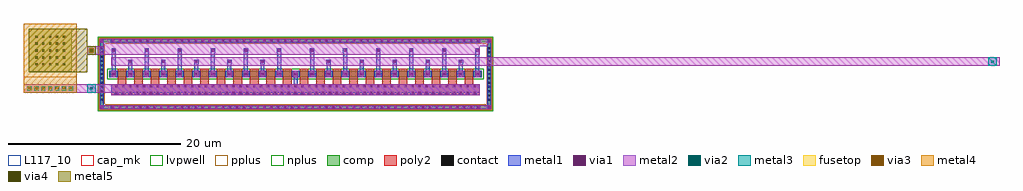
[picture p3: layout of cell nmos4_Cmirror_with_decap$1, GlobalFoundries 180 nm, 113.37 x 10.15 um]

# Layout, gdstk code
import gdstk
lib = gdstk.Library(unit=1e-6, precision=5e-09)
def R(c, l, rs):  # rectangles x0, y0, x1, y1
    for r in rs: c.add(gdstk.rectangle(r[:2], r[2:], *l))
def A(c, l, x, y, w, h, nx, ny, dx, dy):  # array of equal rectangles
    R(c, l, [(x+i*dx, y+j*dy, x+i*dx+w, y+j*dy+h) for i in range(nx) for j in range(ny)])
def P(c, l, *ps):  # polygons
    for p in ps: c.add(gdstk.Polygon(p, *l))
comp = (22, 0)
poly2 = (30, 0)
pplus = (31, 0)
nplus = (32, 0)
contact = (33, 0)
metal1 = (34, 0)
via1 = (35, 0)
metal2 = (36, 0)
via2 = (38, 0)
via3 = (40, 0)
via4 = (41, 0)
metal3 = (42, 0)
metal4 = (46, 0)
fusetop = (75, 0)
metal5 = (81, 0)
cap_mk = (117, 5)
L117_10 = (117, 10)
lvpwell = (204, 0)

cmirror_interdigitized_4 = lib.new_cell('cmirror_interdigitized$4')
A(cmirror_interdigitized_4, comp, -21.38, -4.045, 0.36, 0.36, 54, 2, 0.8, 7.73)
A(cmirror_interdigitized_4, comp, -22.7, -3.18, 0.36, 0.36, 1, 13, 0, 0.5)
A(cmirror_interdigitized_4, comp, 22.34, -3.18, 0.36, 0.36, 1, 13, 0, 0.5)
R(cmirror_interdigitized_4, comp, [(-21.38,-4.045,21.38,-3.685), (-22.7,-3.18,-22.34,3.18), (22.34,-3.18,22.7,3.18), (-21.65,-0.375,21.65,0.375), (-21.38,3.685,21.38,4.045)])
P(cmirror_interdigitized_4, comp, [(-22.7,-4.045),(-22.7,-3.685),(22.34,-3.685),(22.34,3.685),(-22.34,3.685),(-22.34,-3.685),(-22.7,-3.685),(-22.7,4.045),(22.7,4.045),(22.7,-4.045)])
A(cmirror_interdigitized_4, poly2, -20.98, -2.405, 0.36, 0.36, 53, 2, 0.8, 0.8)
A(cmirror_interdigitized_4, poly2, -20.66, -1.18, 1, 0.565, 22, 1, 1.92, 0)
A(cmirror_interdigitized_4, poly2, -20.66, -0.615, 1, 1.23, 22, 1, 1.92, 0)
R(cmirror_interdigitized_4, poly2, [(-21.4,-2.475,21.4,-1.175)])
P(cmirror_interdigitized_4, pplus, [(-22.86,-4.205),(-22.86,-3.525),(22.18,-3.525),(22.18,3.525),(-22.18,3.525),(-22.18,-3.525),(-22.86,-3.525),(-22.86,4.205),(22.86,4.205),(22.86,-4.205)])
R(cmirror_interdigitized_4, nplus, [(-21.88,-0.605,21.88,0.605)])
A(cmirror_interdigitized_4, contact, -21.31, -3.975, 0.22, 0.22, 54, 2, 0.8, 7.73)
A(cmirror_interdigitized_4, contact, -22.63, -3.11, 0.22, 0.22, 1, 13, 0, 0.5)
A(cmirror_interdigitized_4, contact, 22.41, -3.11, 0.22, 0.22, 1, 13, 0, 0.5)
A(cmirror_interdigitized_4, contact, -20.91, -2.335, 0.22, 0.22, 53, 2, 0.8, 0.8)
A(cmirror_interdigitized_4, contact, -21.23, -0.11, 0.22, 0.22, 23, 1, 1.92, 0)
A(cmirror_interdigitized_4, metal1, -21.45, -4.115, 0.5, 0.5, 54, 2, 0.8, 7.73)
A(cmirror_interdigitized_4, metal1, -22.75, -3.23, 0.46, 0.46, 1, 13, 0, 0.5)
A(cmirror_interdigitized_4, metal1, 22.29, -3.23, 0.46, 0.46, 1, 13, 0, 0.5)
A(cmirror_interdigitized_4, metal1, -21.05, -2.475, 0.5, 0.5, 53, 2, 0.8, 0.8)
A(cmirror_interdigitized_4, metal1, -21.58, -0.375, 0.92, 0.75, 23, 1, 1.92, 0)
A(cmirror_interdigitized_4, metal1, -21.35, -0.23, 0.46, 0.46, 23, 1, 1.92, 0)
A(cmirror_interdigitized_4, metal1, -21.35, 0.375, 0.46, 2.6, 12, 1, 3.84, 0)
A(cmirror_interdigitized_4, metal1, -19.43, 0.375, 0.46, 1.3, 5, 1, 3.84, 0)
A(cmirror_interdigitized_4, metal1, 3.61, 0.375, 0.46, 1.3, 5, 1, 3.84, 0)
A(cmirror_interdigitized_4, metal1, -19.45, 1.175, 0.5, 0.5, 5, 1, 3.84, 0)
A(cmirror_interdigitized_4, metal1, 3.59, 1.175, 0.5, 0.5, 5, 1, 3.84, 0)
A(cmirror_interdigitized_4, metal1, -21.37, 2.475, 0.5, 0.5, 12, 1, 3.84, 0)
R(cmirror_interdigitized_4, metal1, [(-22.75,-4.115,-22.25,-3.615), (-22.75,-4.115,-22.25,-3.615), (-22.75,-4.115,-22.29,-3.685), (-21.45,-4.115,21.45,-3.615), (22.25,-4.115,22.75,-3.615), (22.25,-4.115,22.75,-3.615), (22.29,-4.115,22.75,-3.685), (-22.75,-3.685,-22.29,3.685), (22.29,-3.685,22.75,3.685), (-21.4,-2.175,21.4,-1.175), (-0.23,-1.175,0.23,-0.375), (-21.37,-0.25,-20.87,0.25), (-21.37,-0.25,-20.87,0.25), (-19.45,-0.25,-18.95,0.25), (-19.45,-0.25,-18.95,0.25), (-17.53,-0.25,-17.03,0.25), (-17.53,-0.25,-17.03,0.25), (-15.61,-0.25,-15.11,0.25), (-15.61,-0.25,-15.11,0.25), (-13.69,-0.25,-13.19,0.25), (-13.69,-0.25,-13.19,0.25), (-11.77,-0.25,-11.27,0.25), (-11.77,-0.25,-11.27,0.25), (-9.85,-0.25,-9.35,0.25), (-9.85,-0.25,-9.35,0.25), (-7.93,-0.25,-7.43,0.25), (-7.93,-0.25,-7.43,0.25), (-6.01,-0.25,-5.51,0.25), (-6.01,-0.25,-5.51,0.25), (-4.09,-0.25,-3.59,0.25), (-4.09,-0.25,-3.59,0.25), (-2.17,-0.25,-1.67,0.25), (-2.17,-0.25,-1.67,0.25), (-0.25,-0.25,0.25,0.25), (-0.25,-0.25,0.25,0.25), (1.67,-0.25,2.17,0.25), (1.67,-0.25,2.17,0.25), (3.59,-0.25,4.09,0.25), (3.59,-0.25,4.09,0.25), (5.51,-0.25,6.01,0.25), (5.51,-0.25,6.01,0.25), (7.43,-0.25,7.93,0.25), (7.43,-0.25,7.93,0.25), (9.35,-0.25,9.85,0.25), (9.35,-0.25,9.85,0.25), (11.27,-0.25,11.77,0.25), (11.27,-0.25,11.77,0.25), (13.19,-0.25,13.69,0.25), (13.19,-0.25,13.69,0.25), (15.11,-0.25,15.61,0.25), (15.11,-0.25,15.61,0.25), (17.03,-0.25,17.53,0.25), (17.03,-0.25,17.53,0.25), (18.95,-0.25,19.45,0.25), (18.95,-0.25,19.45,0.25), (20.87,-0.25,21.37,0.25), (20.87,-0.25,21.37,0.25), (-22.75,3.615,-22.25,4.115), (-22.75,3.615,-22.25,4.115), (-21.45,3.615,21.45,4.115), (22.25,3.615,22.75,4.115), (22.25,3.615,22.75,4.115), (-22.75,3.685,-22.29,4.115), (22.29,3.685,22.75,4.115)])
A(cmirror_interdigitized_4, via1, -21.33, -3.995, 0.26, 0.26, 54, 2, 0.8, 7.73)
A(cmirror_interdigitized_4, via1, -20.93, -2.355, 0.26, 0.26, 53, 2, 0.8, 0.8)
A(cmirror_interdigitized_4, via1, -21.25, -0.13, 0.26, 0.26, 23, 1, 1.92, 0)
A(cmirror_interdigitized_4, via1, -19.33, 1.295, 0.26, 0.26, 5, 1, 3.84, 0)
A(cmirror_interdigitized_4, via1, 3.71, 1.295, 0.26, 0.26, 5, 1, 3.84, 0)
A(cmirror_interdigitized_4, via1, -21.25, 2.595, 0.26, 0.26, 12, 1, 3.84, 0)
R(cmirror_interdigitized_4, via1, [(-22.63,-3.995,-22.37,-3.735), (22.37,-3.995,22.63,-3.735), (-22.63,3.735,-22.37,3.995), (22.37,3.735,22.63,3.995)])
A(cmirror_interdigitized_4, metal2, -21.45, -4.115, 0.5, 0.5, 54, 2, 0.8, 7.73)
A(cmirror_interdigitized_4, metal2, -21.05, -2.475, 0.5, 0.5, 53, 2, 0.8, 0.8)
A(cmirror_interdigitized_4, metal2, -21.37, -0.375, 0.5, 0.75, 23, 1, 1.92, 0)
A(cmirror_interdigitized_4, metal2, -21.37, -0.25, 0.5, 0.5, 23, 1, 1.92, 0)
A(cmirror_interdigitized_4, metal2, -19.45, 1.175, 0.5, 0.5, 5, 1, 3.84, 0)
A(cmirror_interdigitized_4, metal2, 3.59, 1.175, 0.5, 0.5, 5, 1, 3.84, 0)
A(cmirror_interdigitized_4, metal2, -21.37, 2.475, 0.5, 0.5, 12, 1, 3.84, 0)
R(cmirror_interdigitized_4, metal2, [(-22.75,-4.115,-22.25,-3.615), (-22.75,-4.115,-22.25,-3.615), (-22.75,-4.115,-22.34,-3.615), (-22.34,-4.115,22.34,-3.615), (22.25,-4.115,22.75,-3.615), (22.25,-4.115,22.75,-3.615), (22.34,-4.115,22.75,-3.615), (-21.4,-2.475,21.4,-1.175), (-21.4,-2.175,21.4,-1.175), (-21.4,0.925,21.4,1.925), (-21.4,2.225,21.4,3.225), (-22.34,3.225,22.34,4.115), (-22.75,3.615,-22.25,4.115), (-22.75,3.615,-22.25,4.115), (-22.75,3.615,-22.34,4.115), (-22.34,3.615,22.34,4.115), (22.25,3.615,22.75,4.115), (22.25,3.615,22.75,4.115), (22.34,3.615,22.75,4.115)])
R(cmirror_interdigitized_4, lvpwell, [(-22.98,-4.325,22.98,4.325)])

via_array_6f2c13fe_6_1 = lib.new_cell('via_array_6f2c13fe$6$1')
R(via_array_6f2c13fe_6_1, metal2, [(-0.5,-0.5,0.5,0.5), (-0.25,-0.25,0.25,0.25)])
R(via_array_6f2c13fe_6_1, via2, [(-0.13,-0.13,0.13,0.13)])
R(via_array_6f2c13fe_6_1, metal3, [(-0.5,-0.5,0.5,0.5), (-0.25,-0.25,0.25,0.25)])

via_array_6f2c13fe_7 = lib.new_cell('via_array_6f2c13fe$7')
R(via_array_6f2c13fe_7, metal2, [(-0.5,-0.5,58.065,0.5), (57,-0.25,57.5,0.25)])
R(via_array_6f2c13fe_7, via2, [(57.12,-0.13,57.38,0.13)])
R(via_array_6f2c13fe_7, metal3, [(56.75,-0.5,57.75,0.5), (57,-0.25,57.5,0.25)])

via_array_3a42d9f3_3 = lib.new_cell('via_array_3a42d9f3$3')
R(via_array_3a42d9f3_3, metal2, [(-0.5,-0.5,0.5,0.5), (-0.25,-0.25,0.25,0.25)])
R(via_array_3a42d9f3_3, via2, [(-0.13,-0.13,0.13,0.13)])
R(via_array_3a42d9f3_3, via3, [(-0.13,-0.13,0.13,0.13)])
R(via_array_3a42d9f3_3, via4, [(-0.13,-0.13,0.13,0.13)])
R(via_array_3a42d9f3_3, metal3, [(-0.25,-0.25,0.25,0.25)])
R(via_array_3a42d9f3_3, metal4, [(-0.25,-0.25,0.25,0.25)])
R(via_array_3a42d9f3_3, metal5, [(-0.5,-0.5,0.5,0.5), (-0.25,-0.25,0.25,0.25)])

straight_route_7f878439 = lib.new_cell('straight_route_7f878439')
R(straight_route_7f878439, metal2, [(-24.2,-2.175,-21.4,-1.175)])

straight_route_7f444776 = lib.new_cell('straight_route_7f444776')
R(straight_route_7f444776, metal2, [(-21.4,0.925,23.2,1.925)])

straight_route_26751db4 = lib.new_cell('straight_route_26751db4')
R(straight_route_26751db4, metal2, [(-24.2,2.225,-21.4,3.225)])

unnamed_5b1479df = lib.new_cell('Unnamed_5b1479df')
A(unnamed_5b1479df, via4, -1.73, -1.73, 0.26, 0.26, 5, 5, 0.8, 0.8)
R(unnamed_5b1479df, metal4, [(-3.1,-3.1,3.1,3.1)])
R(unnamed_5b1479df, fusetop, [(-2.5,-2.5,2.5,2.5)])
A(unnamed_5b1479df, metal5, -1.85, -1.85, 0.5, 0.5, 5, 5, 0.8, 0.8)
R(unnamed_5b1479df, metal5, [(-2.5,-2.5,2.5,2.5)])
R(unnamed_5b1479df, cap_mk, [(-3.1,-3.1,3.1,3.1)])
R(unnamed_5b1479df, L117_10, [(-2.5,-2.5,2.5,-2.4)])

straight_route_7f0d2627 = lib.new_cell('straight_route_7f0d2627')
R(straight_route_7f0d2627, metal5, [(-26,0.225,-24.2,5.225)])

l_route_9f97f9d6 = lib.new_cell('L_route_9f97f9d6')
A(l_route_9f97f9d6, metal2, -31.15, -1.925, 0.5, 0.5, 7, 1, 0.8, 0)
R(l_route_9f97f9d6, metal2, [(-31.6,-2.175,-24.2,-1.175), (-31.15,-1.925,-25.85,-1.425)])
A(l_route_9f97f9d6, via2, -31.03, -1.805, 0.26, 0.26, 7, 1, 0.8, 0)
A(l_route_9f97f9d6, via3, -31.03, -1.805, 0.26, 0.26, 7, 1, 0.8, 0)
A(l_route_9f97f9d6, metal3, -31.15, -1.925, 0.5, 0.5, 7, 1, 0.8, 0)
A(l_route_9f97f9d6, metal4, -31.15, -1.925, 0.5, 0.5, 7, 1, 0.8, 0)
R(l_route_9f97f9d6, metal4, [(-31.6,-2.175,-25.4,-1.175), (-31.6,-2.175,-25.4,-0.375)])

nmos4_cmirror_with_decap = lib.new_cell('nmos4_Cmirror_with_decap$1')
nmos4_cmirror_with_decap.add(gdstk.Reference(cmirror_interdigitized_4, (0,0)))
nmos4_cmirror_with_decap.add(gdstk.Reference(via_array_6f2c13fe_6_1, (-23.7,-1.675)))
nmos4_cmirror_with_decap.add(gdstk.Reference(via_array_6f2c13fe_7, (23.7,1.425)))
nmos4_cmirror_with_decap.add(gdstk.Reference(via_array_3a42d9f3_3, (-23.7,2.725)))
nmos4_cmirror_with_decap.add(gdstk.Reference(straight_route_7f878439, (0,0)))
nmos4_cmirror_with_decap.add(gdstk.Reference(straight_route_7f444776, (0,0)))
nmos4_cmirror_with_decap.add(gdstk.Reference(straight_route_26751db4, (0,0)))
nmos4_cmirror_with_decap.add(gdstk.Reference(unnamed_5b1479df, (-28.5,2.725)))
nmos4_cmirror_with_decap.add(gdstk.Reference(straight_route_7f0d2627, (0,0)))
nmos4_cmirror_with_decap.add(gdstk.Reference(l_route_9f97f9d6, (0,0)))

lib.write_gds('nmos4_Cmirror_with_decap_1.gds')
